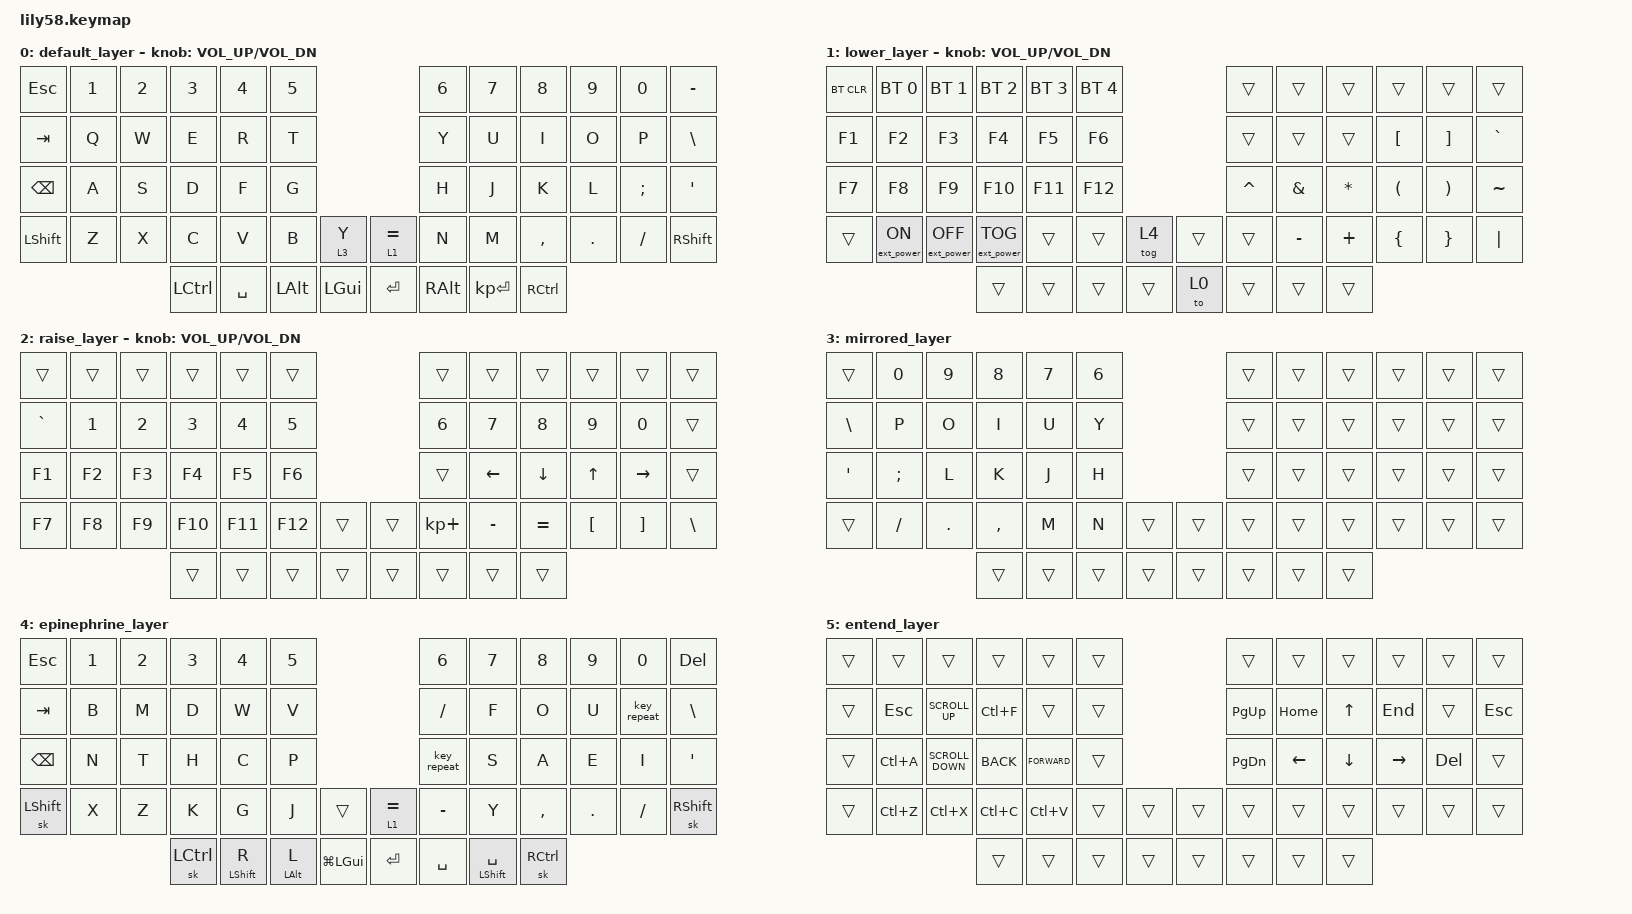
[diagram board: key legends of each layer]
/*
 * Copyright (c) 2020 The ZMK Contributors
 *
 * SPDX-License-Identifier: MIT
 */

#include <behaviors.dtsi>
#include <dt-bindings/zmk/bt.h>
#include <dt-bindings/zmk/ext_power.h>
#include <dt-bindings/zmk/keys.h>

/ {
    combos {
        compatible = "zmk,combos";

        combo_q {
            bindings = <&kp Q>;
            key-positions = <13 16>;
            layers = <4>;
        };
    };

    behaviors {
        ss_hs_modmorph: ss_hs_modmorph {
            compatible = "zmk,behavior-mod-morph";
            label = "SS_HS_MODMORPH";
            bindings = <&kp M>, <&kp RIGHT_BRACKET>;

            #binding-cells = <0>;
            mods = <(MOD_LSFT|MOD_RSFT)>;
        };

        kh_hs_tapdance: kh_hs_tapdance {
            compatible = "zmk,behavior-tap-dance";
            label = "KH_HS_TAPDANCE";
            #binding-cells = <0>;
            tapping-term-ms = <200>;
            bindings = <&kp LEFT_BRACKET>, <&kp RIGHT_BRACKET>;
        };

        hrm: hrm {
            compatible = "zmk,behavior-hold-tap";
            #binding-cells = <2>;
            flavor = "tap-preferred";
            tapping-term-ms = <200>;
            quick-tap-ms = <200>;
            require-prior-idle-ms = <125>;
            bindings = <&kp>, <&kp>;
        };
    };

    keymap {
        compatible = "zmk,keymap";

        default_layer {
            // ------------------------------------------------------------------------------------------------------------
            // |  ESC  |  1  |  2  |  3   |  4   |  5   |                   |  6   |  7    |  8    |  9   |   0   |   `   |
            // |  TAB  |  Q  |  W  |  E   |  R   |  T   |                   |  Y   |  U    |  I    |  O   |   P   |   -   |
            // |  CTRL |  A  |  S  |  D   |  F   |  G   |                   |  H   |  J    |  K    |  L   |   ;   |   '   |
            // | SHIFT |  Z  |  X  |  C   |  V   |  B   |   "["  |  |  "]"  |  N   |  M    |  ,    |  .   |   /   | SHIFT |
            //                     | ALT  | GUI  | LOWER|  SPACE |  | ENTER | RAISE| BSPC  | GUI   |

            bindings = <
&kp ESC        &kp N1  &kp N2  &kp N3            &kp N4     &kp N5                                 &kp N6         &kp N7        &kp N8             &kp N9   &kp N0    &kp MINUS
&kp TAB        &kp Q   &kp W   &kp E             &kp R      &kp T                                  &kp Y          &kp U         &kp I              &kp O    &kp P     &kp BACKSLASH
&kp BACKSPACE  &kp A   &kp S   &kp D             &kp F      &kp G                                  &kp H          &kp J         &kp K              &kp L    &kp SEMI  &kp SQT
&kp LSHFT      &kp Z   &kp X   &kp C             &kp V      &kp B         &lt 3 Y     &lt 1 EQUAL  &kp N          &kp M         &kp COMMA          &kp DOT  &kp FSLH  &kp RIGHT_SHIFT
                               &kp LEFT_CONTROL  &kp SPACE  &kp LEFT_ALT  &kp LGUI    &kp RET      &kp RIGHT_ALT  &kp KP_ENTER  &kp RIGHT_CONTROL
            >;

            sensor-bindings = <&inc_dec_kp C_VOL_UP C_VOL_DN>;
        };

        lower_layer {
            // ------------------------------------------------------------------------------------------------------------
            // | BTCLR | BT1 | BT2 |  BT3 |  BT4 |  BT5 |                   |      |       |       |      |       |       |
            // |  F1   |  F2 |  F3 |  F4  |  F5  |  F6  |                   |  F7  |  F8   |  F9   |  F10 |  F11  |  F12  |
            // |   `   |  !  |  @  |  #   |  $   |  %   |                   |  ^   |  &    |  *    |  (   |   )   |   ~   |
            // |       |     |     |      |      |      |        |  |       |      |  _    |  +    |  {   |   }   |  "|"  |
            //                     |      |      |      |        |  |       |      |       |       |

            bindings = <
&bt BT_CLR  &bt BT_SEL 0      &bt BT_SEL 1       &bt BT_SEL 2       &bt BT_SEL 3  &bt BT_SEL 4                    &trans     &trans     &trans     &trans    &trans    &trans
&kp F1      &kp F2            &kp F3             &kp F4             &kp F5        &kp F6                          &trans     &trans     &trans     &kp LBKT  &kp RBKT  &kp GRAVE
&kp F7      &kp F8            &kp F9             &kp F10            &kp F11       &kp F12                         &kp CARET  &kp AMPS   &kp ASTRK  &kp LPAR  &kp RPAR  &kp TILDE
&trans      &ext_power EP_ON  &ext_power EP_OFF  &ext_power EP_TOG  &trans        &trans        &tog 4    &trans  &trans     &kp MINUS  &kp PLUS   &kp LBRC  &kp RBRC  &kp PIPE
                                                 &trans             &trans        &trans        &trans    &to 0   &trans     &trans     &trans
            >;

            sensor-bindings = <&inc_dec_kp C_VOL_UP C_VOL_DN>;
        };

        raise_layer {
            // ------------------------------------------------------------------------------------------------------------
            // |       |     |     |      |      |      |                   |      |       |       |      |       |       |
            // |   `   |  1  |  2  |  3   |  4   |  5   |                   |  6   |   7   |   8   |  9   |   0   |       |
            // |   F1  |  F2 |  F3 |  F4  |  F5  |  F6  |                   |      |   <-  |   v   |  ^   |  ->   |       |
            // |   F7  |  F8 |  F9 |  F10 |  F11 |  F12 |        |  |       |  +   |   -   |   =   |  [   |   ]   |   \   |
            //                     |      |      |      |        |  |       |      |       |       |

            bindings = <
&trans     &trans  &trans  &trans   &trans   &trans                     &trans       &trans     &trans     &trans    &trans     &trans
&kp GRAVE  &kp N1  &kp N2  &kp N3   &kp N4   &kp N5                     &kp N6       &kp N7     &kp N8     &kp N9    &kp N0     &trans
&kp F1     &kp F2  &kp F3  &kp F4   &kp F5   &kp F6                     &trans       &kp LEFT   &kp DOWN   &kp UP    &kp RIGHT  &trans
&kp F7     &kp F8  &kp F9  &kp F10  &kp F11  &kp F12  &trans    &trans  &kp KP_PLUS  &kp MINUS  &kp EQUAL  &kp LBKT  &kp RBKT   &kp BSLH
                           &trans   &trans   &trans   &trans    &trans  &trans       &trans     &trans
            >;

            sensor-bindings = <&inc_dec_kp C_VOL_UP C_VOL_DN>;
        };

        mirrored_layer {
            bindings = <
&trans    &kp N0    &kp N9   &kp N8     &kp N7  &kp N6                    &trans  &trans  &trans  &trans  &trans  &trans
&kp BSLH  &kp P     &kp O    &kp I      &kp U   &kp Y                     &trans  &trans  &trans  &trans  &trans  &trans
&kp SQT   &kp SEMI  &kp L    &kp K      &kp J   &kp H                     &trans  &trans  &trans  &trans  &trans  &trans
&trans    &kp FSLH  &kp DOT  &kp COMMA  &kp M   &kp N   &trans    &trans  &trans  &trans  &trans  &trans  &trans  &trans
                             &trans     &trans  &trans  &trans    &trans  &trans  &trans  &trans
            >;
        };

        epinephrine_layer {
            bindings = <
&kp ESC    &kp N1  &kp N2  &kp N3     &kp N4            &kp N5                                       &kp N6       &kp N7                &kp N8     &kp N9   &kp N0       &kp DELETE
&kp TAB    &kp B   &kp M   &kp D      &kp W             &kp V                                        &kp FSLH     &kp F                 &kp O      &kp U    &key_repeat  &kp BSLH
&kp BSPC   &kp N   &kp T   &kp H      &kp C             &kp P                                        &key_repeat  &kp S                 &kp A      &kp E    &kp I        &kp SQT
&sk LSHFT  &kp X   &kp Z   &kp K      &kp G             &kp J           &trans          &lt 1 EQUAL  &kp MINUS    &kp Y                 &kp COMMA  &kp DOT  &kp FSLH     &sk RSHFT
                           &sk LCTRL  &mt LEFT_SHIFT R  &mt LEFT_ALT L  &kp LG(LGUI)    &kp RET      &kp SPACE    &mt LEFT_SHIFT SPACE  &sk RCTRL
            >;
        };

        entend_layer {
            bindings = <
&trans  &trans      &trans             &trans      &trans         &trans                    &trans         &trans    &trans    &trans     &trans      &trans
&trans  &kp ESCAPE  &kp K_SCROLL_UP    &kp LC(F)   &trans         &trans                    &kp PAGE_UP    &kp HOME  &kp UP    &kp END    &trans      &kp ESCAPE
&trans  &kp LC(A)   &kp K_SCROLL_DOWN  &kp K_BACK  &kp K_FORWARD  &trans                    &kp PAGE_DOWN  &kp LEFT  &kp DOWN  &kp RIGHT  &kp DELETE  &trans
&trans  &kp LC(Z)   &kp LC(X)          &kp LC(C)   &kp LC(V)      &trans  &trans    &trans  &trans         &trans    &trans    &trans     &trans      &trans
                                       &trans      &trans         &trans  &trans    &trans  &trans         &trans    &trans
            >;
        };
    };
};
